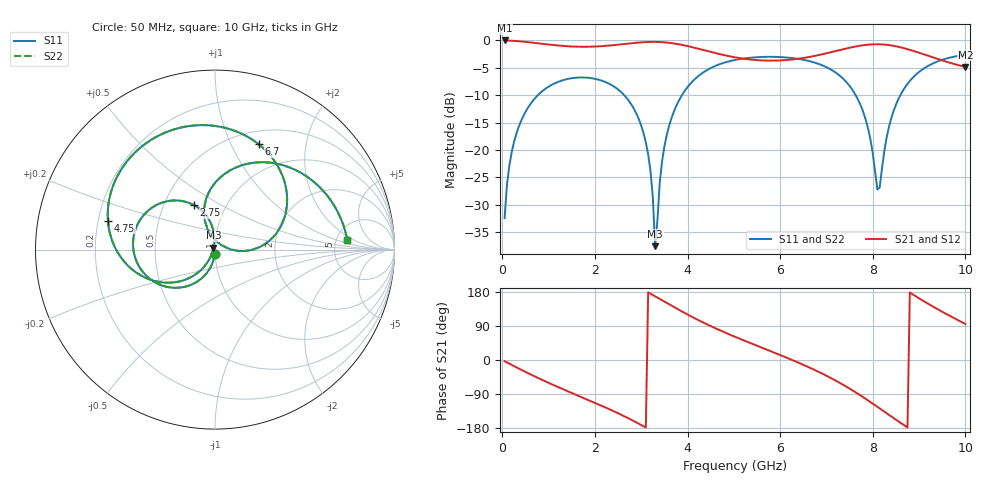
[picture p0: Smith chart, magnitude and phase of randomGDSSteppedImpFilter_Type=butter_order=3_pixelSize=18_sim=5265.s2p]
! freq	dB(S11)	phase(S11)	dB(S12)	phase(S12)
!  dB(S21)	phase(S21)	dB(S22)	phase(S22)
!S-par simulation data
#  GHz  S  DB  R 50
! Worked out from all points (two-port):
!   200 points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, 50 MHz to 10 GHz, reference 50 ohm
!   highest |S21| = -0.01 dB at 50 MHz (marker M1); lowest = -4.8 dB at 10 GHz (marker M2)
!   |S21| within 3 dB of the highest: start of sweep to 4.974 GHz; 6.64 GHz to 9.266 GHz (2.626 GHz wide, 33 % of centre)
!   lowest |S11| = -37.6 dB at 3.3 GHz (marker M3), VSWR 1.03, Z = 49.1 + j0.985 ohm
!   |S11| at or under -10 dB: start of sweep to 769.4 MHz; 2.632 GHz to 3.88 GHz (1.248 GHz wide, 38.3 % of centre); 7.63 GHz to 8.596 GHz (965.6 MHz wide, 11.9 % of centre)
!   |S22| runs from -37.4 to -2.6 dB; largest |S21 - S12| = 0
!   S11 on the Smith chart (normalised r, x): 50 MHz: 1.00, -0.05; 2.75 GHz: 0.71, +0.38; 4.75 GHz: 0.24, +0.13; 6.7 GHz: 0.65, +1.28; 10 GHz: 6.30, +1.51
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0.05  -32.44 -93.2  -0.01 -3.2  -0.01 -3.2  -32.44 -93.2
0.2  -20.53 -103.1  -0.06 -12.8  -0.06 -12.8  -20.53 -103.1
0.5  -13.07 -121.8  -0.26 -31.4  -0.26 -31.4  -13.07 -121.8
1.1  -7.97 -156.3  -0.84 -65.8  -0.84 -65.8  -7.97 -156.3
1.75  -6.77 169.7  -1.16 -100.0  -1.16 -100.0  -6.77 169.7
2.75  -11.23 115.4  -0.55 -155.5  -0.55 -155.5  -11.23 115.4
3.15  -20.82 93.8  -0.29 178.4  -0.29 178.4  -20.82 94.0
3.25  -28.53 96.4  -0.27 171.6  -0.27 171.6  -28.51 97.0
3.3  -37.58 130.7  -0.27 168.2  -0.27 168.2  -37.38 131.6
3.4  -26.01 -121.2  -0.29 161.2  -0.29 161.2  -26.00 -121.7
3.55  -17.32 -124.2  -0.39 150.7  -0.39 150.7  -17.32 -124.4
3.8  -11.21 -139.2  -0.68 133.5  -0.68 133.5  -11.21 -139.3
4.75  -4.18 164.9  -2.61 75.6  -2.61 75.6  -4.18 164.9
5.05  -3.53 149.5  -3.12 60.0  -3.12 60.0  -3.53 149.5
5.95  -3.02 105.9  -3.67 15.6  -3.67 15.6  -3.02 106.0
6.7  -3.94 67.4  -2.91 -23.7  -2.91 -23.7  -3.94 67.5
7.65  -10.29 9.0  -1.07 -86.9  -1.07 -86.9  -10.28 9.3
7.9  -16.14 -3.2  -0.77 -106.9  -0.77 -106.9  -16.12 -2.7
8.1  -27.24 35.2  -0.70 -123.7  -0.70 -123.7  -26.98 35.8
8.35  -15.77 109.8  -0.85 -145.0  -0.85 -145.0  -15.75 109.4
9.15  -4.87 58.3  -2.68 151.6  -2.68 151.6  -4.87 58.2
10  -2.62 4.2  -4.83 95.0  -4.83 95.0  -2.62 4.2
